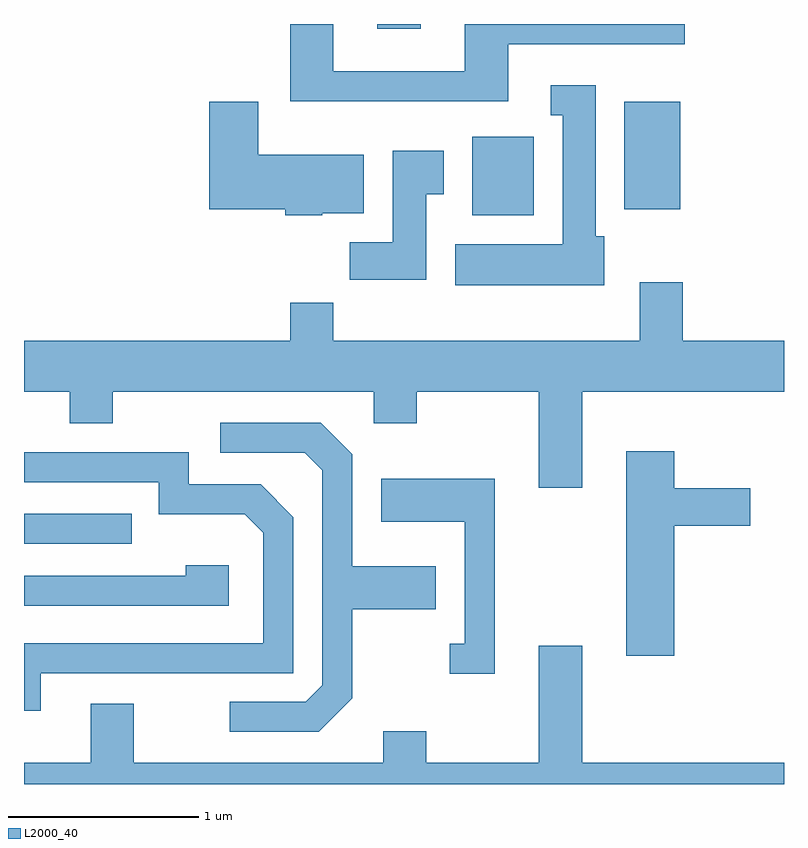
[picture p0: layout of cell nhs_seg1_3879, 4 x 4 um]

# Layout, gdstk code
import gdstk
lib = gdstk.Library(unit=1e-6, precision=1e-09)
def R(c, l, rs):  # rectangles x0, y0, x1, y1
    for r in rs: c.add(gdstk.rectangle(r[:2], r[2:], *l))
def P(c, l, *ps):  # polygons
    for p in ps: c.add(gdstk.Polygon(p, *l))
L2000_40 = (2000, 40)

nhs_seg1_3879 = lib.new_cell('nhs_seg1_3879')
R(nhs_seg1_3879, L2000_40, [(301.611,920.976,302.178,921.134), (303.971,922.706,304.294,923.119), (304.771,922.736,305.064,923.304), (303.471,923.686,303.699,923.712)])
P(nhs_seg1_3879, L2000_40, [(304.159,923.606),(305.088,923.606),(305.088,923.712),(303.931,923.712),(303.931,923.464),(303.239,923.464),(303.239,923.712),(303.011,923.712),(303.011,923.306),(304.159,923.306)],
  [(304.664,922.594),(304.619,922.594),(304.619,923.389),(304.383,923.389),(304.383,923.231),(304.446,923.231),(304.446,922.554),(303.881,922.554),(303.881,922.336),(304.664,922.336)],
  [(303.18,922.716),(303.399,922.716),(303.399,923.024),(302.844,923.024),(302.844,923.304),(302.586,923.304),(302.586,922.736),(302.986,922.736),(302.986,922.706),(303.18,922.706)],
  [(303.729,922.816),(303.819,922.816),(303.819,923.044),(303.551,923.044),(303.551,922.564),(303.326,922.564),(303.326,922.366),(303.729,922.366)],
  [(304.549,921.776),(305.611,921.776),(305.611,922.044),(305.079,922.044),(305.079,922.354),(304.851,922.354),(304.851,922.044),(303.239,922.044),(303.239,922.244),(303.011,922.244),(303.011,922.044),(301.611,922.044),(301.611,921.776),(301.851,921.776),(301.851,921.611),(302.079,921.611),(302.079,921.776),(303.451,921.776),(303.451,921.611),(303.679,921.611),(303.679,921.776),(304.321,921.776),(304.321,921.271),(304.549,921.271)],
  [(303.339,920.164),(303.339,920.631),(303.779,920.631),(303.779,920.859),(303.339,920.859),(303.339,921.447),(303.172,921.614),(302.643,921.614),(302.643,921.456),(303.089,921.456),(303.181,921.364),(303.181,920.232),(303.094,920.144),(302.693,920.144),(302.693,919.986),(303.162,919.986)],
  [(305.034,921.071),(305.434,921.071),(305.434,921.269),(305.034,921.269),(305.034,921.464),(304.781,921.464),(304.781,920.386),(305.034,920.386)],
  [(301.699,920.296),(303.029,920.296),(303.029,921.117),(302.857,921.289),(302.479,921.289),(302.479,921.459),(301.611,921.459),(301.611,921.301),(302.321,921.301),(302.321,921.131),(302.774,921.131),(302.871,921.034),(302.871,920.454),(301.611,920.454),(301.611,920.098),(301.699,920.098)],
  [(304.089,921.319),(303.491,921.319),(303.491,921.091),(303.931,921.091),(303.931,920.449),(303.853,920.449),(303.853,920.291),(304.089,920.291)],
  [(302.689,920.864),(302.461,920.864),(302.461,920.809),(301.611,920.809),(301.611,920.651),(302.689,920.651)],
  [(305.611,919.824),(304.549,919.824),(304.549,920.439),(304.321,920.439),(304.321,919.824),(303.729,919.824),(303.729,919.989),(303.501,919.989),(303.501,919.824),(302.189,919.824),(302.189,920.134),(301.961,920.134),(301.961,919.824),(301.611,919.824),(301.611,919.712),(305.611,919.712)])

lib.write_gds('nhs_seg1_3879.gds')
